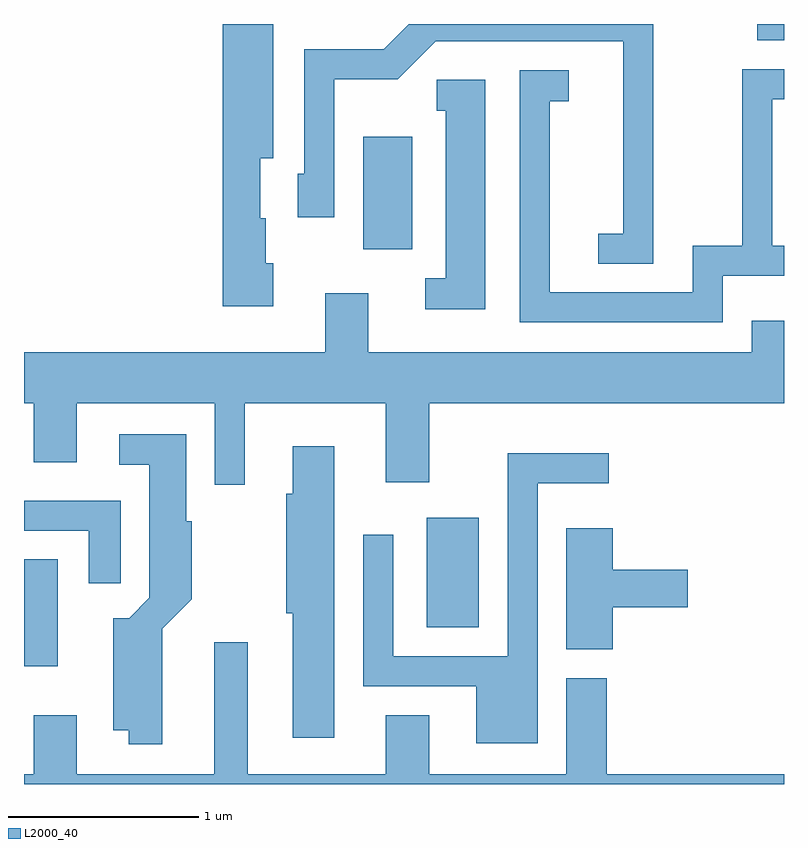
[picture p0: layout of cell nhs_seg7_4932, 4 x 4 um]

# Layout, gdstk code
import gdstk
lib = gdstk.Library(unit=1e-6, precision=1e-09)
def R(c, l, rs):  # rectangles x0, y0, x1, y1
    for r in rs: c.add(gdstk.rectangle(r[:2], r[2:], *l))
def P(c, l, *ps):  # polygons
    for p in ps: c.add(gdstk.Polygon(p, *l))
L2000_40 = (2000, 40)

nhs_seg7_4932 = lib.new_cell('nhs_seg7_4932')
R(nhs_seg7_4932, L2000_40, [(335.611,1772.871,335.789,1773.434), (337.731,1773.076,338.004,1773.654), (337.396,1775.066,337.654,1775.659), (339.471,1776.166,339.611,1776.252)])
P(nhs_seg7_4932, L2000_40, [(336.924,1774.994),(336.884,1774.994),(336.884,1775.229),(336.854,1775.229),(336.854,1775.546),(336.924,1775.546),(336.924,1776.252),(336.656,1776.252),(336.656,1774.766),(336.924,1774.766)],
  [(338.924,1776.252),(337.637,1776.252),(337.504,1776.119),(337.086,1776.119),(337.086,1775.464),(337.051,1775.464),(337.051,1775.236),(337.244,1775.236),(337.244,1775.961),(337.577,1775.961),(337.777,1776.161),(338.766,1776.161),(338.766,1775.149),(338.633,1775.149),(338.633,1774.991),(338.924,1774.991)],
  [(339.289,1774.926),(339.611,1774.926),(339.611,1775.084),(339.549,1775.084),(339.549,1775.856),(339.611,1775.856),(339.611,1776.014),(339.391,1776.014),(339.391,1775.084),(339.131,1775.084),(339.131,1774.839),(338.379,1774.839),(338.379,1775.846),(338.478,1775.846),(338.478,1776.009),(338.221,1776.009),(338.221,1774.681),(339.289,1774.681)],
  [(338.039,1775.959),(337.783,1775.959),(337.783,1775.796),(337.831,1775.796),(337.831,1774.914),(337.723,1774.914),(337.723,1774.751),(338.039,1774.751)],
  [(336.774,1774.256),(337.516,1774.256),(337.516,1773.841),(337.744,1773.841),(337.744,1774.256),(339.611,1774.256),(339.611,1774.689),(339.441,1774.689),(339.441,1774.524),(337.424,1774.524),(337.424,1774.834),(337.196,1774.834),(337.196,1774.524),(335.611,1774.524),(335.611,1774.256),(335.661,1774.256),(335.661,1773.946),(335.889,1773.946),(335.889,1774.256),(336.616,1774.256),(336.616,1773.828),(336.774,1773.828)],
  [(336.339,1773.069),(336.494,1773.224),(336.494,1773.634),(336.464,1773.634),(336.464,1774.094),(336.113,1774.094),(336.113,1773.931),(336.271,1773.931),(336.271,1773.232),(336.164,1773.124),(336.081,1773.124),(336.081,1772.536),(336.161,1772.536),(336.161,1772.461),(336.339,1772.461)],
  [(337.244,1774.029),(337.026,1774.029),(337.026,1773.779),(336.991,1773.779),(336.991,1773.151),(337.026,1773.151),(337.026,1772.496),(337.244,1772.496)],
  [(338.314,1773.836),(338.688,1773.836),(338.688,1773.994),(338.156,1773.994),(338.156,1772.924),(337.554,1772.924),(337.554,1773.563),(337.396,1773.563),(337.396,1772.766),(337.991,1772.766),(337.991,1772.466),(338.314,1772.466)],
  [(336.119,1773.744),(335.611,1773.744),(335.611,1773.586),(335.951,1773.586),(335.951,1773.308),(336.119,1773.308)],
  [(338.709,1773.181),(339.104,1773.181),(339.104,1773.379),(338.709,1773.379),(338.709,1773.599),(338.466,1773.599),(338.466,1772.961),(338.709,1772.961)],
  [(339.611,1772.304),(338.679,1772.304),(338.679,1772.809),(338.466,1772.809),(338.466,1772.304),(337.744,1772.304),(337.744,1772.614),(337.516,1772.614),(337.516,1772.304),(336.789,1772.304),(336.789,1772.999),(336.611,1772.999),(336.611,1772.304),(335.889,1772.304),(335.889,1772.614),(335.661,1772.614),(335.661,1772.304),(335.611,1772.304),(335.611,1772.252),(339.611,1772.252)])

lib.write_gds('nhs_seg7_4932.gds')
